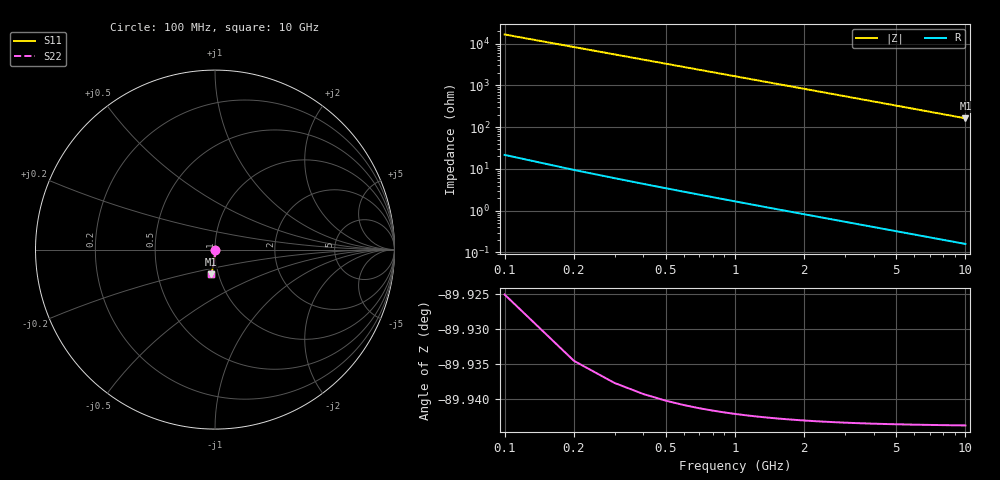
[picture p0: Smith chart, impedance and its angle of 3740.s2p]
# Hz S RI R 50.00
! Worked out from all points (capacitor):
!   100 points, 100 MHz to 10 GHz, reference 50 ohm
!   read as one part in shunt: C = 96 fF near 100 MHz
!   lowest |Z| = 163 ohm at 10 GHz (marker M1)
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1e8  1.98e-05 -0.00139  1 -0.00163  1 -0.00163  1.98e-05 -0.00139
2e8  1.17e-05 -0.00278  1 -0.00325  1 -0.00325  1.17e-05 -0.00278
3e8  -9.38e-07 -0.00417  1 -0.00488  1 -0.00488  -9.38e-07 -0.00417
4e8  -1.82e-05 -0.00557  0.9999 -0.0065  0.9999 -0.0065  -1.82e-05 -0.00557
5e8  -3.99e-05 -0.00696  0.9999 -0.00813  0.9999 -0.00813  -3.99e-05 -0.00696
6e8  -6.62e-05 -0.00835  0.9999 -0.00976  0.9999 -0.00976  -6.62e-05 -0.00835
7e8  -9.71e-05 -0.00974  0.9999 -0.0114  0.9999 -0.0114  -9.71e-05 -0.00974
8e8  -0.000132 -0.0111  0.9998 -0.013  0.9998 -0.013  -0.000132 -0.0111
9e8  -0.000172 -0.0125  0.9998 -0.0146  0.9998 -0.0146  -0.000172 -0.0125
1.1e9  -0.000266 -0.0153  0.9997 -0.0179  0.9997 -0.0179  -0.000266 -0.0153
1.4e9  -0.000441 -0.0195  0.9995 -0.0228  0.9995 -0.0228  -0.000441 -0.0195
1.8e9  -0.000737 -0.0251  0.9992 -0.0293  0.9992 -0.0293  -0.000737 -0.0251
2.1e9  -0.00101 -0.0293  0.9989 -0.0342  0.9989 -0.0342  -0.00101 -0.0293
2.5e9  -0.00143 -0.0349  0.9985 -0.0407  0.9985 -0.0407  -0.00143 -0.0349
2.9e9  -0.00193 -0.0404  0.998 -0.0473  0.998 -0.0473  -0.00193 -0.0404
3.4e9  -0.00266 -0.0474  0.9973 -0.0554  0.9973 -0.0554  -0.00266 -0.0474
4.2e9  -0.00407 -0.0586  0.9958 -0.0685  0.9958 -0.0685  -0.00407 -0.0586
5.1e9  -0.006 -0.0711  0.9939 -0.0832  0.9939 -0.0832  -0.006 -0.0711
5.9e9  -0.00804 -0.0822  0.9918 -0.0962  0.9918 -0.0962  -0.00804 -0.0822
6.7e9  -0.0104 -0.0933  0.9895 -0.1092  0.9895 -0.1092  -0.0104 -0.0933
8.4e9  -0.0163 -0.1165  0.9835 -0.1365  0.9835 -0.1365  -0.0163 -0.1165
1e10  -0.023 -0.1379  0.9767 -0.1619  0.9767 -0.1619  -0.023 -0.1379
